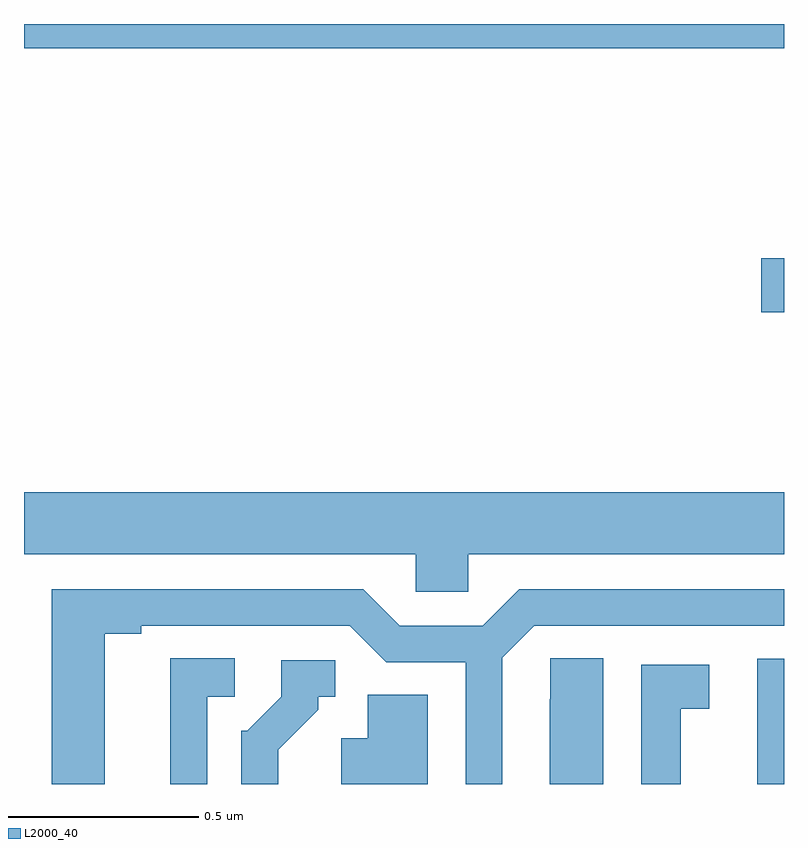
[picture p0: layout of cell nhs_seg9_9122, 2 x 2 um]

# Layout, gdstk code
import gdstk
lib = gdstk.Library(unit=1e-6, precision=1e-09)
def R(c, l, rs):  # rectangles x0, y0, x1, y1
    for r in rs: c.add(gdstk.rectangle(r[:2], r[2:], *l))
def P(c, l, *ps):  # polygons
    for p in ps: c.add(gdstk.Polygon(p, *l))
L2000_40 = (2000, 40)

nhs_seg9_9122 = lib.new_cell('nhs_seg9_9122')
R(nhs_seg9_9122, L2000_40, [(227.93,1178.5,228,1178.83), (227.94,1179.742,228,1179.884), (226,1180.436,228,1180.5)])
P(nhs_seg9_9122, L2000_40, [(227.169,1179.104),(228,1179.104),(228,1179.268),(226,1179.268),(226,1179.104),(227.031,1179.104),(227.031,1179.006),(227.169,1179.006)],
  [(226.213,1178.896),(226.309,1178.896),(226.309,1178.916),(226.857,1178.916),(226.953,1178.82),(227.163,1178.82),(227.163,1178.5),(227.259,1178.5),(227.259,1178.832),(227.343,1178.916),(228,1178.916),(228,1179.012),(227.303,1179.012),(227.207,1178.916),(226.989,1178.916),(226.893,1179.012),(226.073,1179.012),(226.073,1178.5),(226.213,1178.5)],
  [(227.524,1178.831),(227.385,1178.831),(227.385,1178.723),(227.384,1178.723),(227.384,1178.5),(227.524,1178.5)],
  [(226.482,1178.73),(226.555,1178.73),(226.555,1178.831),(226.385,1178.831),(226.385,1178.5),(226.482,1178.5)],
  [(226.669,1178.59),(226.774,1178.695),(226.774,1178.73),(226.819,1178.73),(226.819,1178.826),(226.677,1178.826),(226.677,1178.73),(226.587,1178.64),(226.572,1178.64),(226.572,1178.5),(226.669,1178.5)],
  [(227.728,1178.698),(227.803,1178.698),(227.803,1178.814),(227.624,1178.814),(227.624,1178.5),(227.728,1178.5)],
  [(227.062,1178.735),(226.904,1178.735),(226.904,1178.62),(226.835,1178.62),(226.835,1178.5),(227.062,1178.5)])

lib.write_gds('nhs_seg9_9122.gds')
